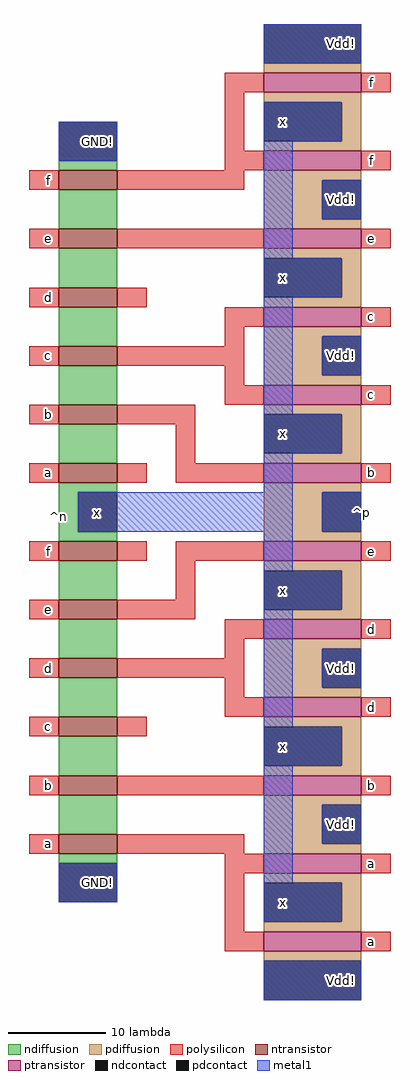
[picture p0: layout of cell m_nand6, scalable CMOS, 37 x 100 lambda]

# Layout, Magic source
magic
tech scmos
<< ndiffusion >>
rect -220 -716 -214 -715
rect -220 -722 -214 -718
rect -220 -728 -214 -724
rect -220 -734 -214 -730
rect -220 -740 -214 -736
rect -220 -746 -214 -742
rect -220 -749 -214 -748
rect -220 -753 -218 -749
rect -220 -754 -214 -753
rect -220 -760 -214 -756
rect -220 -766 -214 -762
rect -220 -772 -214 -768
rect -220 -778 -214 -774
rect -220 -784 -214 -780
rect -220 -787 -214 -786
<< pdiffusion >>
rect -199 -706 -189 -705
rect -199 -709 -189 -708
rect -191 -713 -189 -709
rect -199 -714 -189 -713
rect -199 -717 -189 -716
rect -199 -721 -193 -717
rect -199 -722 -189 -721
rect -199 -725 -189 -724
rect -191 -729 -189 -725
rect -199 -730 -189 -729
rect -199 -733 -189 -732
rect -199 -737 -193 -733
rect -199 -738 -189 -737
rect -199 -741 -189 -740
rect -191 -745 -189 -741
rect -199 -746 -189 -745
rect -199 -749 -189 -748
rect -199 -753 -193 -749
rect -199 -754 -189 -753
rect -199 -757 -189 -756
rect -191 -761 -189 -757
rect -199 -762 -189 -761
rect -199 -765 -189 -764
rect -199 -769 -193 -765
rect -199 -770 -189 -769
rect -199 -773 -189 -772
rect -191 -777 -189 -773
rect -199 -778 -189 -777
rect -199 -781 -189 -780
rect -199 -785 -193 -781
rect -199 -786 -189 -785
rect -199 -789 -189 -788
rect -191 -793 -189 -789
rect -199 -794 -189 -793
rect -199 -797 -189 -796
<< ntransistor >>
rect -220 -718 -214 -716
rect -220 -724 -214 -722
rect -220 -730 -214 -728
rect -220 -736 -214 -734
rect -220 -742 -214 -740
rect -220 -748 -214 -746
rect -220 -756 -214 -754
rect -220 -762 -214 -760
rect -220 -768 -214 -766
rect -220 -774 -214 -772
rect -220 -780 -214 -778
rect -220 -786 -214 -784
<< ptransistor >>
rect -199 -708 -189 -706
rect -199 -716 -189 -714
rect -199 -724 -189 -722
rect -199 -732 -189 -730
rect -199 -740 -189 -738
rect -199 -748 -189 -746
rect -199 -756 -189 -754
rect -199 -764 -189 -762
rect -199 -772 -189 -770
rect -199 -780 -189 -778
rect -199 -788 -189 -786
rect -199 -796 -189 -794
<< polysilicon >>
rect -203 -708 -199 -706
rect -189 -708 -186 -706
rect -203 -714 -201 -708
rect -203 -716 -199 -714
rect -189 -716 -186 -714
rect -223 -718 -220 -716
rect -214 -718 -201 -716
rect -223 -724 -220 -722
rect -214 -724 -199 -722
rect -189 -724 -186 -722
rect -223 -730 -220 -728
rect -214 -730 -211 -728
rect -203 -732 -199 -730
rect -189 -732 -186 -730
rect -203 -734 -201 -732
rect -223 -736 -220 -734
rect -214 -736 -201 -734
rect -203 -738 -201 -736
rect -203 -740 -199 -738
rect -189 -740 -186 -738
rect -223 -742 -220 -740
rect -214 -742 -206 -740
rect -208 -746 -206 -742
rect -223 -748 -220 -746
rect -214 -748 -211 -746
rect -208 -748 -199 -746
rect -189 -748 -186 -746
rect -223 -756 -220 -754
rect -214 -756 -211 -754
rect -208 -756 -199 -754
rect -189 -756 -186 -754
rect -208 -760 -206 -756
rect -223 -762 -220 -760
rect -214 -762 -206 -760
rect -203 -764 -199 -762
rect -189 -764 -186 -762
rect -203 -766 -201 -764
rect -223 -768 -220 -766
rect -214 -768 -201 -766
rect -203 -770 -201 -768
rect -203 -772 -199 -770
rect -189 -772 -186 -770
rect -223 -774 -220 -772
rect -214 -774 -211 -772
rect -223 -780 -220 -778
rect -214 -780 -199 -778
rect -189 -780 -186 -778
rect -223 -786 -220 -784
rect -214 -786 -201 -784
rect -203 -788 -199 -786
rect -189 -788 -186 -786
rect -203 -794 -201 -788
rect -203 -796 -199 -794
rect -189 -796 -186 -794
<< ndcontact >>
rect -220 -715 -214 -711
rect -218 -753 -214 -749
rect -220 -791 -214 -787
<< pdcontact >>
rect -199 -705 -189 -701
rect -199 -713 -191 -709
rect -193 -721 -189 -717
rect -199 -729 -191 -725
rect -193 -737 -189 -733
rect -199 -745 -191 -741
rect -193 -753 -189 -749
rect -199 -761 -191 -757
rect -193 -769 -189 -765
rect -199 -777 -191 -773
rect -193 -785 -189 -781
rect -199 -793 -191 -789
rect -199 -801 -189 -797
<< metal1 >>
rect -199 -705 -189 -701
rect -220 -715 -214 -711
rect -199 -713 -191 -709
rect -199 -725 -196 -713
rect -193 -721 -189 -717
rect -199 -729 -191 -725
rect -199 -741 -196 -729
rect -193 -737 -189 -733
rect -199 -745 -191 -741
rect -199 -749 -196 -745
rect -218 -753 -196 -749
rect -193 -753 -189 -749
rect -199 -757 -196 -753
rect -199 -761 -191 -757
rect -199 -773 -196 -761
rect -193 -769 -189 -765
rect -199 -777 -191 -773
rect -220 -791 -214 -787
rect -199 -789 -196 -777
rect -193 -785 -189 -781
rect -199 -793 -191 -789
rect -199 -801 -189 -797
<< labels >>
rlabel space -192 -802 -186 -700 3 ^p
rlabel polysilicon -188 -795 -188 -795 3 a
rlabel polysilicon -188 -787 -188 -787 3 a
rlabel polysilicon -188 -779 -188 -779 3 b
rlabel polysilicon -188 -771 -188 -771 3 d
rlabel polysilicon -188 -763 -188 -763 3 d
rlabel polysilicon -188 -755 -188 -755 3 e
rlabel polysilicon -188 -747 -188 -747 3 b
rlabel polysilicon -188 -739 -188 -739 3 c
rlabel polysilicon -188 -731 -188 -731 3 c
rlabel polysilicon -188 -723 -188 -723 3 e
rlabel polysilicon -188 -715 -188 -715 3 f
rlabel polysilicon -188 -707 -188 -707 3 f
rlabel polysilicon -221 -785 -221 -785 3 a
rlabel polysilicon -221 -779 -221 -779 3 b
rlabel polysilicon -221 -773 -221 -773 3 c
rlabel polysilicon -221 -767 -221 -767 3 d
rlabel polysilicon -221 -761 -221 -761 3 e
rlabel polysilicon -221 -755 -221 -755 3 f
rlabel polysilicon -221 -747 -221 -747 3 a
rlabel polysilicon -221 -741 -221 -741 3 b
rlabel polysilicon -221 -735 -221 -735 3 c
rlabel polysilicon -221 -729 -221 -729 3 d
rlabel polysilicon -221 -723 -221 -723 3 e
rlabel polysilicon -221 -717 -221 -717 3 f
rlabel space -223 -793 -217 -710 7 ^n
rlabel pdcontact -197 -791 -197 -791 1 x
rlabel pdcontact -197 -775 -197 -775 1 x
rlabel pdcontact -197 -759 -197 -759 1 x
rlabel pdcontact -197 -743 -197 -743 1 x
rlabel pdcontact -197 -727 -197 -727 1 x
rlabel pdcontact -197 -711 -197 -711 1 x
rlabel pdcontact -191 -767 -191 -767 1 Vdd!
rlabel pdcontact -191 -783 -191 -783 1 Vdd!
rlabel pdcontact -191 -799 -191 -799 1 Vdd!
rlabel pdcontact -191 -735 -191 -735 1 Vdd!
rlabel pdcontact -191 -751 -191 -751 1 Vdd!
rlabel pdcontact -191 -719 -191 -719 1 Vdd!
rlabel pdcontact -191 -703 -191 -703 1 Vdd!
rlabel ndcontact -216 -789 -216 -789 1 GND!
rlabel ndcontact -216 -713 -216 -713 5 GND!
rlabel ndcontact -216 -751 -216 -751 1 x
<< end >>
